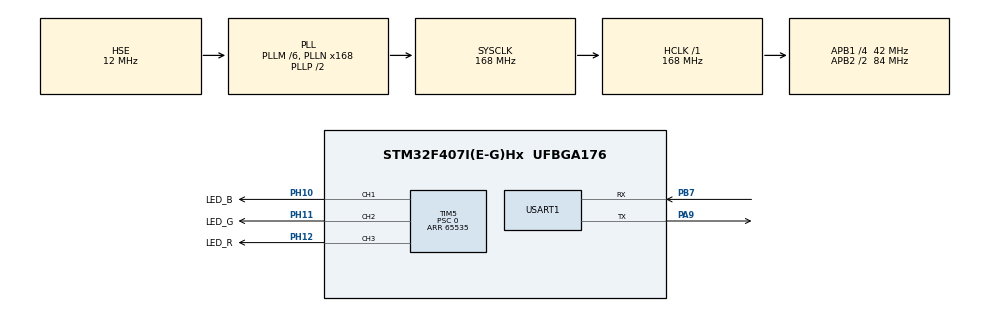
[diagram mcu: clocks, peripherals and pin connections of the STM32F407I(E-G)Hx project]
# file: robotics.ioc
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Mcu.Family=STM32F4
Mcu.Name=STM32F407I(E-G)Hx
Mcu.Package=UFBGA176
NVIC.PriorityGroup=NVIC_PRIORITYGROUP_4
NVIC.USART1_IRQn=true\:0\:0\:false\:false\:true\:true\:true
PA13.Mode=Serial_Wire
PA13.Signal=SYS_JTMS-SWDIO
PA14.Mode=Serial_Wire
PA14.Signal=SYS_JTCK-SWCLK
PA9.Mode=Asynchronous
PA9.Signal=USART1_TX
PB7.Mode=Asynchronous
PB7.Signal=USART1_RX
PH0-OSC_IN.Mode=HSE-External-Oscillator
PH0-OSC_IN.Signal=RCC_OSC_IN
PH1-OSC_OUT.Mode=HSE-External-Oscillator
PH1-OSC_OUT.Signal=RCC_OSC_OUT
PH10.GPIO_Label=LED_B
PH10.GPIO_PuPd=GPIO_PULLUP
PH10.GPIO_Speed=GPIO_SPEED_FREQ_HIGH
PH10.Signal=S_TIM5_CH1
PH11.GPIO_Label=LED_G
PH11.GPIO_PuPd=GPIO_PULLUP
PH11.GPIO_Speed=GPIO_SPEED_FREQ_HIGH
PH11.Signal=S_TIM5_CH2
PH12.GPIO_Label=LED_R
PH12.GPIO_PuPd=GPIO_PULLUP
PH12.GPIO_Speed=GPIO_SPEED_FREQ_HIGH
PH12.Signal=S_TIM5_CH3
ProjectManager.HeapSize=0x2000
ProjectManager.StackSize=0x2000
ProjectManager.TargetToolchain=Makefile
RCC.48MHZClocksFreq_Value=48000000
RCC.AHBFreq_Value=168000000
RCC.APB1CLKDivider=RCC_HCLK_DIV4
RCC.APB1Freq_Value=42000000
RCC.APB1TimFreq_Value=84000000
RCC.APB2CLKDivider=RCC_HCLK_DIV2
RCC.APB2Freq_Value=84000000
RCC.APB2TimFreq_Value=168000000
RCC.CortexFreq_Value=168000000
RCC.HCLKFreq_Value=168000000
RCC.HSE_VALUE=12000000
RCC.HSI_VALUE=16000000
RCC.LSE_VALUE=32768
RCC.PLLM=6
RCC.PLLN=168
RCC.PLLQ=7
RCC.PLLSourceVirtual=RCC_PLLSOURCE_HSE
RCC.RCC_RTC_Clock_SourceVirtual=RCC_RTCCLKSOURCE_HSE_DIV30
RCC.RCC_RTC_Clock_Source_FROM_HSE=RCC_RTCCLKSOURCE_HSE_DIV30
RCC.SYSCLKFreq_VALUE=168000000
RCC.SYSCLKSource=RCC_SYSCLKSOURCE_PLLCLK
RCC.VCOOutputFreq_Value=336000000
SH.S_TIM5_CH1.0=TIM5_CH1,PWM Generation1 CH1
SH.S_TIM5_CH2.0=TIM5_CH2,PWM Generation2 CH2
SH.S_TIM5_CH3.0=TIM5_CH3,PWM Generation3 CH3
TIM5.Channel-PWM\ Generation1\ CH1=TIM_CHANNEL_1
TIM5.Channel-PWM\ Generation2\ CH2=TIM_CHANNEL_2
TIM5.Channel-PWM\ Generation3\ CH3=TIM_CHANNEL_3
TIM5.Period=65535
TIM5.Prescaler=0
USART1.VirtualMode=VM_ASYNC
VP_TIM5_VS_ClockSourceINT.Mode=Internal
board=custom

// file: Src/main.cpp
/**
 ******************************************************************************
 * @file           : main.c
 * @brief          : Main program body
 ******************************************************************************
 * @attention
 *
 * <h2><center>&copy; Copyright (c) 2022 STMicroelectronics.
 * All rights reserved.</center></h2>
 *
 * This software component is licensed by ST under Ultimate Liberty license
 * SLA0044, the "License"; You may not use this file except in compliance with
 * the License. You may obtain a copy of the License at:
 *                             www.st.com/SLA0044
 *
 ******************************************************************************
 */

#include "main.h"
#include "gpio.h"
#include "tim.h"
#include "usart.h"

/* USER CODE BEGIN Includes */
#include "matrix.h"
#include "robotics.h"

/* USER CODE END Includes */

void SystemClock_Config(void);

int main(void)
{

  /* MCU Configuration--------------------------------------------------------*/

  /* Reset of all peripherals, Initializes the Flash interface and the Systick.
   */
  HAL_Init();

  /* Configure the system clock */
  SystemClock_Config();

  /* Initialize all configured peripherals */
  MX_GPIO_Init();
  MX_TIM5_Init();
  MX_USART1_UART_Init();
  /* USER CODE BEGIN 2 */

  HAL_TIM_Base_Start(&htim5);
  HAL_TIM_PWM_Start(&htim5, TIM_CHANNEL_1);
  HAL_TIM_PWM_Start(&htim5, TIM_CHANNEL_2);
  HAL_TIM_PWM_Start(&htim5, TIM_CHANNEL_3);
  __HAL_TIM_SetCompare(&htim5, TIM_CHANNEL_1, 0xffff);

  /* USER CODE END 2 */

  /* Infinite loop */
  /* USER CODE BEGIN WHILE */
  while (1)
  {
    /* Example 1: PUMA560 ------------------------------------------------------------------------*/
    float m[6] = {0.2645, 0.17, 0.1705, 0, 0, 0};
    Matrixf<3, 6> rc((float[18]){0, -8.5e-2, 0, 0, 0, 0,
                                 13.225e-2, 0, 0, 0, 0, 0,
                                 0, 3.7e-2, 8.525e-2, 0, 0, 0});
    Matrixf<3, 3> I[6];
    I[0] = matrixf::diag<3, 3>((float[3]){1.542e-3, 0, 1.542e-3});
    I[1] = matrixf::diag<3, 3>((float[3]){0, 0.409e-3, 0.409e-3});
    I[2] = matrixf::diag<3, 3>((float[3]){0.413e-3, 0.413e-3, 0});
    I[3] = matrixf::eye<3, 3>() * 3.0f;
    I[4] = matrixf::eye<3, 3>() * 2.0f;
    I[5] = matrixf::eye<3, 3>() * 1.0f;

    robotics::Link links[6];
    links[0] = robotics::Link(0, 26.45e-2, 0, -PI / 2, robotics::R, 0, 0, 0, m[0], rc.col(0), I[0]);
    links[1] = robotics::Link(0, 5.5e-2, 17e-2, 0, robotics::R, 0, 0, 0, m[1], rc.col(1), I[1]);
    links[2] = robotics::Link(0, 0, 0, -PI / 2, robotics::R, 0, 0, 0, m[2], rc.col(2), I[2]);
    links[3] = robotics::Link(0, 17.05e-2, 0, PI / 2, robotics::R, 0, 0, 0, m[3], rc.col(3), I[3]);
    links[4] = robotics::Link(0, 0, 0, -PI / 2, robotics::R, 0, 0, 0, m[4], rc.col(4), I[4]);
    links[5] = robotics::Link(0, 0, 0, 0, robotics::R, 0, 0, 0, m[5], rc.col(5), I[5]);
    robotics::Serial_Link<6> p560(links);

    float q[6] = {0.2, -0.5, -0.3, -0.6, 0.5, 0.2};
    float qv[6] = {1, 0.5, -1, 0.3, 0, -1};
    float qa[6] = {0.2, -0.3, 0.1, 0, -1, 0};
    float he[6] = {1, 2, -3, -0.5, -2, 1};

    Matrixf<4, 4> T = p560.fkine(q);
    Matrixf<6, 6> J = p560.jacob(q);
    Matrixf<6, 1> q_ikine = p560.ikine(T, Matrixf<6, 1>((float[6]){0, 0, 0, 0, 0.1, 0}));
    Matrixf<6, 1> torq = p560.rne(q, qv, qa, he);

    /* Example 2: UR -----------------------------------------------------------------------------*/
//    robotics::Link links[6];
//    links[0] = robotics::Link(0, 0, 0, PI / 2, robotics::R, 0);
//    links[1] = robotics::Link(0, 0, 5, 0, robotics::R, PI / 2);
//    links[2] = robotics::Link(0, 0, 5, 0, robotics::R, -PI / 2);
//    links[3] = robotics::Link(0, 1, 0, -PI / 2, robotics::R, 0);
//    links[4] = robotics::Link(0, 1, 0, -PI / 2, robotics::R, -PI / 2);
//    links[5] = robotics::Link(0, 1, 0, 0, robotics::R, 0);
//    robotics::Serial_Link<6> UR(links);

//    float q[6] = {0.1, 0.2, 0.3, 0.4, 0.5, 0.6};
//    Matrixf<4, 4> T = UR.fkine(q);
//    Matrixf<6, 6> J = UR.jacob(q);
//    Matrixf<6, 1> q_ikine = UR.ikine(T);

    /* Example 3: SCARA --------------------------------------------------------------------------*/
//    robotics::Link links[4];
//    links[0] = robotics::Link(0, 5, 5, 0);
//    links[1] = robotics::Link(0, 0, 5, 0);
//    links[2] = robotics::Link(0, 0, 0, PI);
//    links[3] = robotics::Link(0, 0, 0, 0, robotics::P);
//    robotics::Serial_Link<4> SCARA(links);

//    float q[4] = {0.2, 0.5, 0.3, 3};
//    Matrixf<4, 4> T = SCARA.fkine(q);
//    Matrixf<6, 4> J = SCARA.jacob(q);
//    Matrixf<4, 1> q_ikine = SCARA.ikine(T, Matrixf<4, 1>((float[4]){0, 0, 0, 0}));

//    // QR & SVD, unfinished in current version
//    // QR<6, 4> J_qr(J);
//    // Matrixf<6, 6> Q = J_qr.Q();
//    // Matrixf<6, 4> R = J_qr.R();
//    // SVD<6, 4> J_svd(J);

    /* USER CODE END WHILE */

  }
}

void SystemClock_Config(void)
{
  RCC_OscInitTypeDef RCC_OscInitStruct = {0};
  RCC_ClkInitTypeDef RCC_ClkInitStruct = {0};

  /** Configure the main internal regulator output voltage
   */
  __HAL_RCC_PWR_CLK_ENABLE();
  __HAL_PWR_VOLTAGESCALING_CONFIG(PWR_REGULATOR_VOLTAGE_SCALE1);
  /** Initializes the CPU, AHB and APB busses clocks
   */
  RCC_OscInitStruct.OscillatorType = RCC_OSCILLATORTYPE_HSE;
  RCC_OscInitStruct.HSEState = RCC_HSE_ON;
  RCC_OscInitStruct.PLL.PLLState = RCC_PLL_ON;
  RCC_OscInitStruct.PLL.PLLSource = RCC_PLLSOURCE_HSE;
  RCC_OscInitStruct.PLL.PLLM = 6;
  RCC_OscInitStruct.PLL.PLLN = 168;
  RCC_OscInitStruct.PLL.PLLP = RCC_PLLP_DIV2;
  RCC_OscInitStruct.PLL.PLLQ = 7;
  if (HAL_RCC_OscConfig(&RCC_OscInitStruct) != HAL_OK)
  {
    Error_Handler();
  }
  /** Initializes the CPU, AHB and APB busses clocks
   */
  RCC_ClkInitStruct.ClockType = RCC_CLOCKTYPE_HCLK | RCC_CLOCKTYPE_SYSCLK |
                                RCC_CLOCKTYPE_PCLK1 | RCC_CLOCKTYPE_PCLK2;
  RCC_ClkInitStruct.SYSCLKSource = RCC_SYSCLKSOURCE_PLLCLK;
  RCC_ClkInitStruct.AHBCLKDivider = RCC_SYSCLK_DIV1;
  RCC_ClkInitStruct.APB1CLKDivider = RCC_HCLK_DIV4;
  RCC_ClkInitStruct.APB2CLKDivider = RCC_HCLK_DIV2;

  if (HAL_RCC_ClockConfig(&RCC_ClkInitStruct, FLASH_LATENCY_5) != HAL_OK)
  {
    Error_Handler();
  }
}

void Error_Handler(void)
{
}

#ifdef USE_FULL_ASSERT
/**
 * @brief  Reports the name of the source file and the source line number
 *         where the assert_param error has occurred.
 * @param  file: pointer to the source file name
 * @param  line: assert_param error line source number
 * @retval None
 */
void assert_failed(uint8_t* file, uint32_t line)
{
  /* USER CODE BEGIN 6 */
  /* User can add his own implementation to report the file name and line
     number, tex: printf("Wrong parameters value: file %s on line %d\r\n", file,
     line) */
  /* USER CODE END 6 */
}
#endif /* USE_FULL_ASSERT */

/************************ (C) COPYRIGHT STMicroelectronics *****END OF FILE****/
